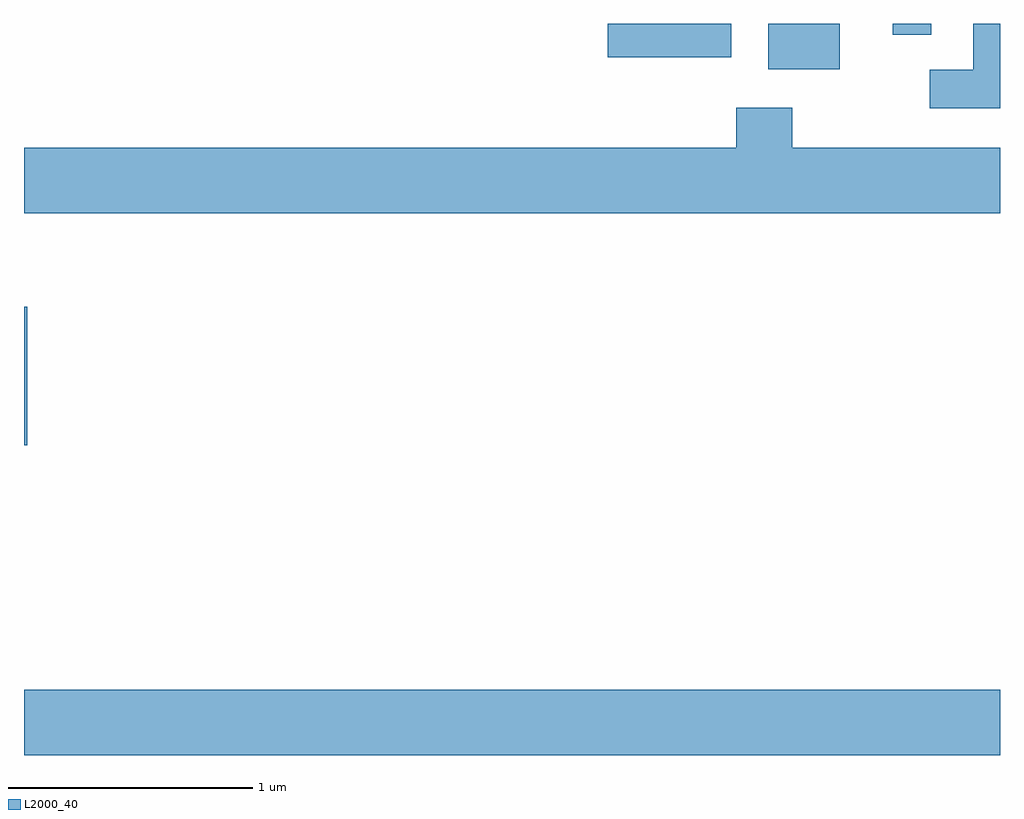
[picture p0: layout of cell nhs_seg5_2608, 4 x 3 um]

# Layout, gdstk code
import gdstk
lib = gdstk.Library(unit=1e-6, precision=1e-09)
def R(c, l, rs):  # rectangles x0, y0, x1, y1
    for r in rs: c.add(gdstk.rectangle(r[:2], r[2:], *l))
def P(c, l, *ps):  # polygons
    for p in ps: c.add(gdstk.Polygon(p, *l))
L2000_40 = (2000, 40)

nhs_seg5_2608 = lib.new_cell('nhs_seg5_2608')
R(nhs_seg5_2608, L2000_40, [(263.611,1399.076,267.611,1399.344), (263.611,1400.346,263.624,1400.914), (266.661,1401.886,266.954,1402.072), (266.003,1401.936,266.509,1402.072), (267.171,1402.028,267.329,1402.072)])
P(nhs_seg5_2608, L2000_40, [(267.611,1402.072),(267.501,1402.072),(267.501,1401.884),(267.323,1401.884),(267.323,1401.726),(267.611,1401.726)],
  [(267.611,1401.564),(266.759,1401.564),(266.759,1401.729),(266.531,1401.729),(266.531,1401.564),(263.611,1401.564),(263.611,1401.296),(267.611,1401.296)])

lib.write_gds('nhs_seg5_2608.gds')
